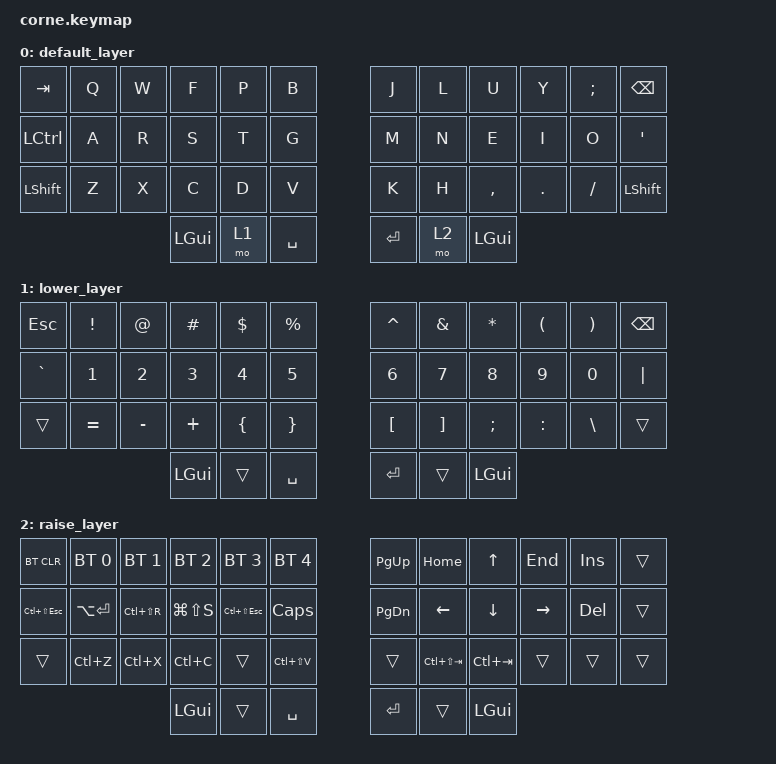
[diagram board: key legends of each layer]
/*
 * Copyright (c) 2020 The ZMK Contributors
 *
 * SPDX-License-Identifier: MIT
 */

#include <behaviors.dtsi>
#include <dt-bindings/zmk/bt.h>
#include <dt-bindings/zmk/keys.h>

/ {
    keymap {
        compatible = "zmk,keymap";

        default_layer {
            // -----------------------------------------------------------------------------------------
            // |  TAB |  Q  |  W  |  F  |  P  |  B  |   |  J  |  L   |  U  |  Y  |  ;  | BKSP |
            // | CTRL |  A  |  R  |  S  |  T  |  G  |   |  M  |  N   |  E  |  I  |  O  |  '   |
            // | SHFT |  Z  |  X  |  C  |  D  |  V  |   |  K  |  H   |  ,  |  .  |  /  | SHFT |
            //                    | GUI | LWR | SPC |   | ENT | RSE  | GUI |

            bindings = <
&kp TAB    &kp Q  &kp W  &kp F     &kp P  &kp B        &kp J    &kp L  &kp U      &kp Y    &kp SEMI  &kp BSPC
&kp LCTRL  &kp A  &kp R  &kp S     &kp T  &kp G        &kp M    &kp N  &kp E      &kp I    &kp O     &kp SQT
&kp LSHFT  &kp Z  &kp X  &kp C     &kp D  &kp V        &kp K    &kp H  &kp COMMA  &kp DOT  &kp FSLH  &kp LSHFT
                         &kp LGUI  &mo 1  &kp SPACE    &kp RET  &mo 2  &kp LGUI
            >;
        };

        lower_layer {
            // -----------------------------------------------------------------------------------------
            // |  ESC |  !  |  @  |  #  |  $  |  %  |   |  ^  |  &  |  *  |  (  |  )  | BKSP |
            // |   `  |  1  |  2  |  3  |  4  |  5  |   |  6  |  7  |  8  |  9  |  0  | "|"  |
            // |      |  =  |  -  |  +  |  {  |  }  |   |  [  |  ]  |  ;  |  :  |  \  |      |
            //                    | GUI |     | SPC |   | ENT |     | GUI |

            bindings = <
&kp ESC    &kp EXCL   &kp AT     &kp HASH  &kp DLLR  &kp PRCNT    &kp CARET  &kp AMPS  &kp ASTRK  &kp LPAR   &kp RPAR  &kp BSPC
&kp GRAVE  &kp N1     &kp N2     &kp N3    &kp N4    &kp N5       &kp N6     &kp N7    &kp N8     &kp N9     &kp N0    &kp PIPE
&trans     &kp EQUAL  &kp MINUS  &kp PLUS  &kp LBRC  &kp RBRC     &kp LBKT   &kp RBKT  &kp SEMI   &kp COLON  &kp BSLH  &trans
                                 &kp LGUI  &trans    &kp SPACE    &kp RET    &trans    &kp LGUI
            >;
        };

        raise_layer {
            // -----------------------------------------------------------------------------------------
            // | BTCLR| BT1  | BT2  | BT3  | BT4 | BT5 |   | PGU | HME | UP  | END | INS |      |
            // | TASK | ARET | HRE  | SNIP |     | CAP |   | PGD | LFT | DWN | RGT | DEL |      |
            // |      | UNDO | CUT  | COPY |     | PST |   |     | NT  | PT  |     |     |      |
            //                      | GUI  |     | SPC |   | ENT |     | GUI |

            bindings = <
&bt BT_CLR       &bt BT_SEL 0  &bt BT_SEL 1   &bt BT_SEL 2   &bt BT_SEL 3     &bt BT_SEL 4    &kp PG_UP  &kp HOME         &kp UP       &kp END    &kp INS  &trans
&kp LC(LS(ESC))  &kp LA(RET)   &kp LC(LS(R))  &kp LG(LS(S))  &kp LC(LS(ESC))  &kp CAPS        &kp PG_DN  &kp LEFT         &kp DOWN     &kp RIGHT  &kp DEL  &trans
&trans           &kp LC(Z)     &kp LC(X)      &kp LC(C)      &trans           &kp LC(LS(V))       &trans     &kp LC(LS(TAB))  &kp LC(TAB)  &trans     &trans   &trans
                                              &kp LGUI       &trans           &kp SPACE       &kp RET    &trans           &kp LGUI
            >;
        };
    };
};
